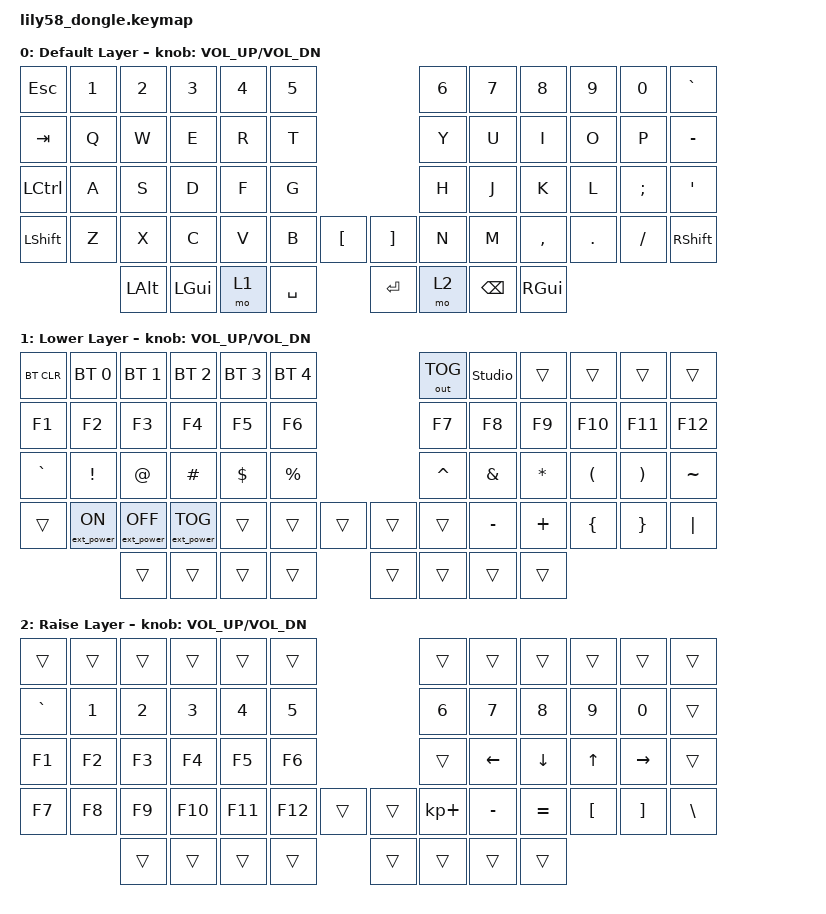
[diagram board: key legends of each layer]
/*
 * Default keymap for the Lily58 dongle setup.
 *
 * Keymap processing happens on the central, and in a dongle setup the
 * dongle IS the central — so this is the file to edit when you want to
 * change what your keys do. The lily58_left.keymap / lily58_right.keymap
 * files are no longer used for key bindings (the halves are peripherals
 * now), only their .conf files matter.
 *
 * This starts as a copy of ZMK's in-tree default Lily58 keymap so you have
 * a known-working baseline before customizing.
 */

#include <behaviors.dtsi>
#include <dt-bindings/zmk/keys.h>
#include <dt-bindings/zmk/bt.h>
#include <dt-bindings/zmk/outputs.h>
#include <dt-bindings/zmk/ext_power.h>

/ {
    keymap {
        compatible = "zmk,keymap";

        default_layer {
            display-name = "Default Layer";

            // ------------------------------------------------------------------------------------------------------------
            // | ESC    |  1  |  2  |  3  |  4  |  5  |                   |  6  |  7  |  8  |  9  |  0  |  `   |
            // | TAB    |  Q  |  W  |  E  |  R  |  T  |                   |  Y  |  U  |  I  |  O  |  P  |  -   |
            // | CTRL   |  A  |  S  |  D  |  F  |  G  |                   |  H  |  J  |  K  |  L  |  ;  |  '   |
            // | SHIFT  |  Z  |  X  |  C  |  V  |  B  | "["  |     |"]"  |  N  |  M  |  ,  |  .  |  /  | SHIFT |
            //          | ALT | GUI |LOWER|SPACE|                 |ENTER|RAISE|BSPC | GUI |
            bindings = <
&kp ESC    &kp N1  &kp N2  &kp N3   &kp N4   &kp N5                                  &kp N6   &kp N7  &kp N8    &kp N9   &kp N0   &kp GRAVE
&kp TAB    &kp Q   &kp W   &kp E    &kp R    &kp T                                   &kp Y    &kp U   &kp I     &kp O    &kp P    &kp MINUS
&kp LCTRL  &kp A   &kp S   &kp D    &kp F    &kp G                                   &kp H    &kp J   &kp K     &kp L    &kp SEMI &kp SQT
&kp LSHFT  &kp Z   &kp X   &kp C    &kp V    &kp B    &kp LBKT         &kp RBKT      &kp N    &kp M   &kp COMMA &kp DOT  &kp FSLH &kp RSHFT
                   &kp LALT &kp LGUI &mo 1   &kp SPACE                &kp RET  &mo 2 &kp BSPC &kp RGUI
            >;

            sensor-bindings = <&inc_dec_kp C_VOL_UP C_VOL_DN>;
        };

        lower_layer {
            display-name = "Lower Layer";

            // ------------------------------------------------------------------------------------------------------------
            // | BTCLR | BT1 | BT2 | BT3 | BT4 | BT5 |                |OUTTOG|STUDIO|     |     |     |     |
            // |  F1   | F2  | F3  | F4  | F5  | F6  |                | F7  | F8  | F9  | F10 | F11 | F12 |
            // |  `    |  !  |  @  |  #  |  $  |  %  |                |  ^  |  &  |  *  |  (  |  )  |  ~  |
            // |       | EPON| EPOFF|EPTOG|     |     |     |  |     |     |     |  -  |  +  |  {  |  }  |  "|"  |
            //         |     |     |     |     |                     |     |     |     |     |
            //
            // OUTTOG  = toggle output between USB (PC, via dongle) and the
            //           current Bluetooth profile (e.g. your Mac). Pick the
            //           Mac's profile first with BT1-BT5 (one-time pairing),
            //           then OUTTOG flips back and forth, no dongle needed.
            // STUDIO  = unlock ZMK Studio so it can push live keymap changes
            //           to this device. Tap this, then connect in the
            //           ZMK Studio app/web UI over the same endpoint
            //           (USB or BLE) you currently have selected with OUTTOG.
            bindings = <
&bt BT_CLR  &bt BT_SEL 0 &bt BT_SEL 1 &bt BT_SEL 2 &bt BT_SEL 3 &bt BT_SEL 4                                     &out OUT_TOG  &studio_unlock  &trans   &trans   &trans  &trans
&kp F1      &kp F2       &kp F3       &kp F4       &kp F5       &kp F6                                           &kp F7  &kp F8  &kp F9   &kp F10  &kp F11 &kp F12
&kp GRAVE   &kp EXCL     &kp AT       &kp HASH     &kp DOLLAR   &kp PRCNT                                        &kp CARET &kp AMPS &kp ASTRK &kp LPAR &kp RPAR &kp TILDE
&trans      &ext_power EP_ON &ext_power EP_OFF &ext_power EP_TOG &trans &trans  &trans            &trans         &trans  &kp MINUS &kp PLUS &kp LBRC &kp RBRC &kp PIPE
                       &trans       &trans       &trans       &trans                              &trans  &trans &trans  &trans
            >;

            sensor-bindings = <&inc_dec_kp C_VOL_UP C_VOL_DN>;
        };

        raise_layer {
            display-name = "Raise Layer";

            // ------------------------------------------------------------------------------------------------------------
            // |       |     |     |     |     |     |                |     |     |     |     |     |     |
            // |   `   |  1  |  2  |  3  |  4  |  5  |                |  6  |  7  |  8  |  9  |  0  |     |
            // |  F1   | F2  | F3  | F4  | F5  | F6  |                |     |  <- |  v  |  ^  |  -> |     |
            // |  F7   | F8  | F9  | F10 | F11 | F12 |     |    |     |     |  +  |  -  |  =  |  [  |  ]  |  \  |
            //         |     |     |     |     |                      |     |     |     |     |
            bindings = <
&trans     &trans  &trans  &trans   &trans   &trans                                  &trans   &trans  &trans   &trans   &trans  &trans
&kp GRAVE  &kp N1  &kp N2  &kp N3   &kp N4   &kp N5                                   &kp N6   &kp N7  &kp N8   &kp N9   &kp N0  &trans
&kp F1     &kp F2  &kp F3  &kp F4   &kp F5   &kp F6                                   &trans   &kp LEFT &kp DOWN &kp UP  &kp RIGHT &trans
&kp F7     &kp F8  &kp F9  &kp F10  &kp F11  &kp F12  &trans           &trans                   &kp KP_PLUS &kp MINUS &kp EQUAL &kp LBKT &kp RBKT &kp BSLH
                    &trans  &trans   &trans   &trans                 &trans   &trans &trans   &trans
            >;

            sensor-bindings = <&inc_dec_kp C_VOL_UP C_VOL_DN>;
        };
    };
};
